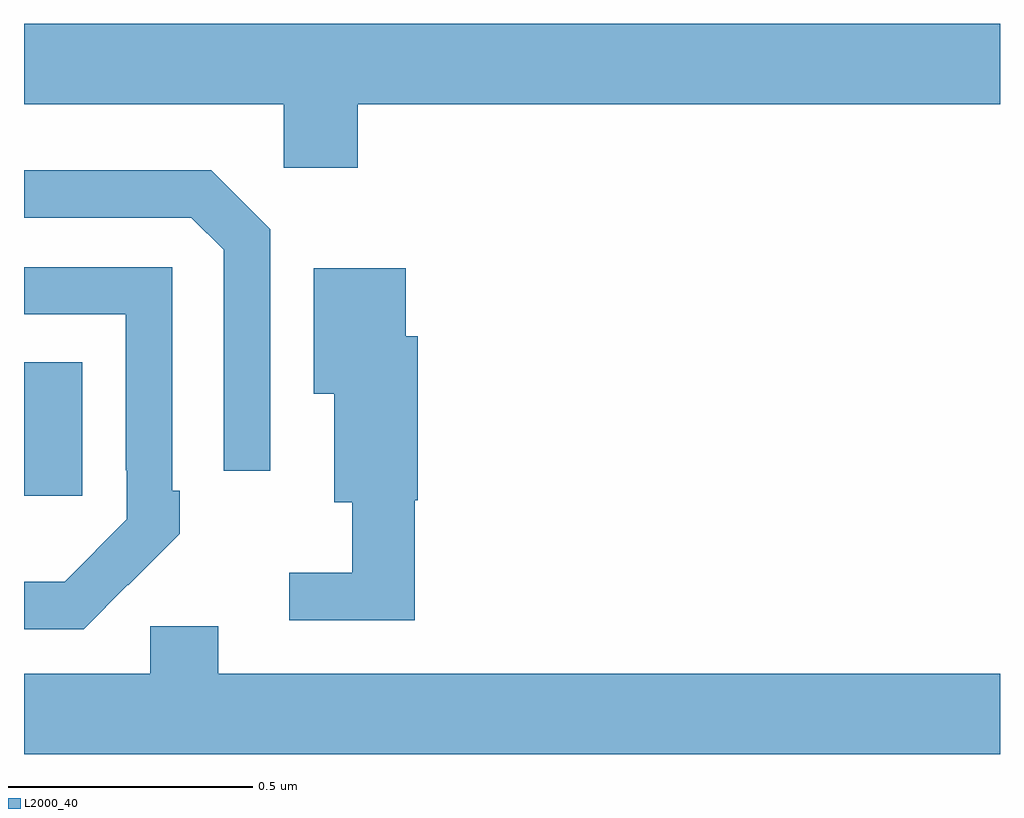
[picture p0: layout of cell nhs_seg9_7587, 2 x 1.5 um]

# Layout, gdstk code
import gdstk
lib = gdstk.Library(unit=1e-6, precision=1e-09)
def R(c, l, rs):  # rectangles x0, y0, x1, y1
    for r in rs: c.add(gdstk.rectangle(r[:2], r[2:], *l))
def P(c, l, *ps):  # polygons
    for p in ps: c.add(gdstk.Polygon(p, *l))
L2000_40 = (2000, 40)

nhs_seg9_7587 = lib.new_cell('nhs_seg9_7587')
R(nhs_seg9_7587, L2000_40, [(206,1214.265,206.119,1214.539)])
P(nhs_seg9_7587, L2000_40, [(206.684,1215.068),(208,1215.068),(208,1215.232),(206,1215.232),(206,1215.068),(206.532,1215.068),(206.532,1214.937),(206.684,1214.937)],
  [(206.505,1214.811),(206.384,1214.932),(206,1214.932),(206,1214.835),(206.343,1214.835),(206.409,1214.769),(206.409,1214.316),(206.505,1214.316)],
  [(206.213,1214.083),(206.214,1214.082),(206.319,1214.187),(206.319,1214.275),(206.304,1214.275),(206.304,1214.733),(206,1214.733),(206,1214.637),(206.208,1214.637),(206.208,1214.317),(206.211,1214.317),(206.211,1214.217),(206.083,1214.089),(206,1214.089),(206,1213.992),(206.122,1213.992)],
  [(206.801,1214.256),(206.807,1214.256),(206.807,1214.592),(206.782,1214.592),(206.782,1214.731),(206.594,1214.731),(206.594,1214.474),(206.636,1214.474),(206.636,1214.252),(206.673,1214.252),(206.673,1214.107),(206.544,1214.107),(206.544,1214.01),(206.801,1214.01)],
  [(208,1213.9),(206.398,1213.9),(206.398,1213.998),(206.259,1213.998),(206.259,1213.9),(206,1213.9),(206,1213.736),(208,1213.736)])

lib.write_gds('nhs_seg9_7587.gds')
